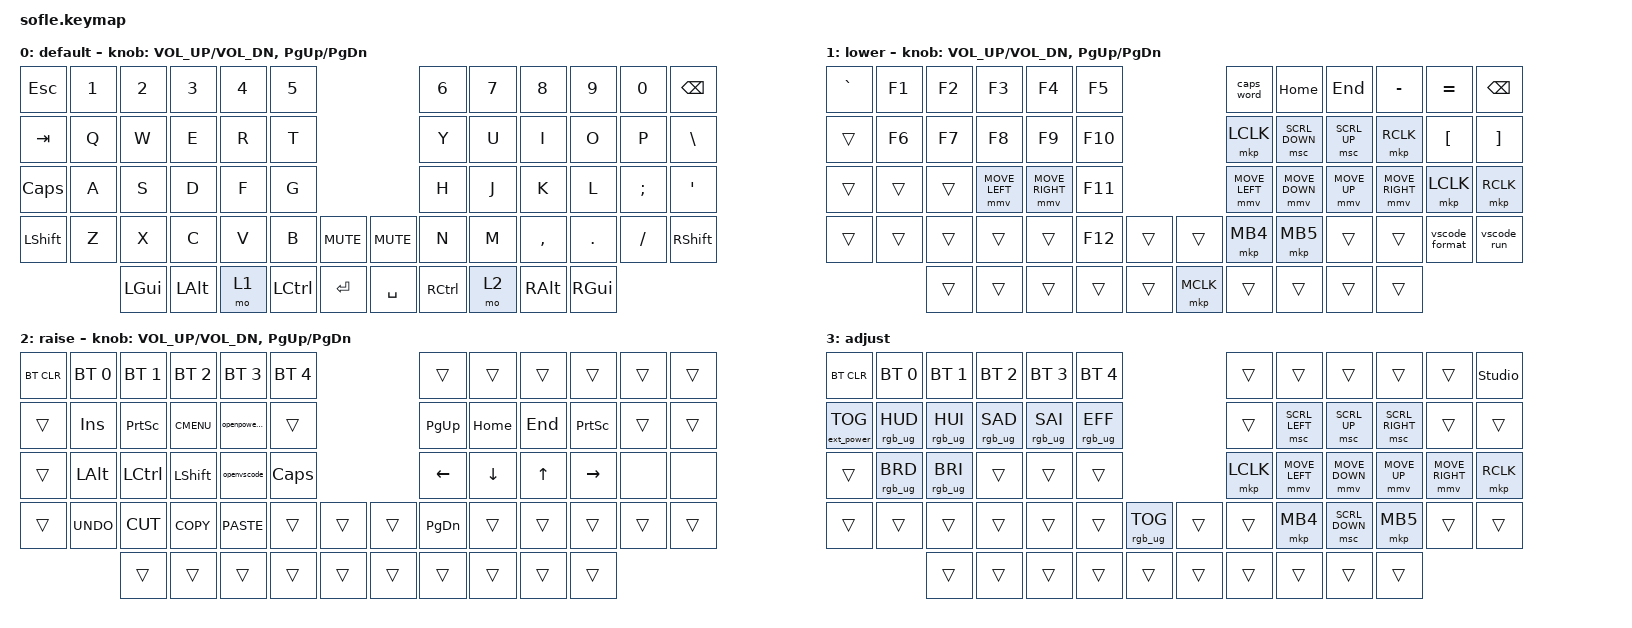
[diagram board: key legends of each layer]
/*
 * Copyright (c) 2020 The ZMK Contributors
 *
 * SPDX-License-Identifier: MIT
 */

#include <behaviors.dtsi>
#include <dt-bindings/zmk/bt.h>
#include <dt-bindings/zmk/ext_power.h>
#include <dt-bindings/zmk/keys.h>
#include <dt-bindings/zmk/pointing.h>
#include <dt-bindings/zmk/rgb.h>

#define BASE 0
#define LOWER 1
#define RAISE 2
#define ADJUST 3

/ {
    // Activate ADJUST layer by pressing raise and lower

    conditional_layers {
        compatible = "zmk,conditional-layers";

        adjust_layer {
            if-layers = <1 2>;
            then-layer = <3>;
        };
    };

    macros {
        vscode_run: vscode_run {
            compatible = "zmk,behavior-macro";
            #binding-cells = <0>;
            bindings =
                <&macro_press>,
                <&kp LCTRL &kp LEFT_ALT &kp N>,
                <&macro_wait_time 100>,
                <&macro_release>,
                <&kp LCTRL &kp LALT &kp N>;

            label = "VSCODE_RUN";
        };

        vscode_format: vscode_format {
            compatible = "zmk,behavior-macro";
            #binding-cells = <0>;
            bindings =
                <&macro_press>,
                <&kp LEFT_SHIFT &kp LEFT_ALT &kp F>,
                <&macro_wait_time 100>,
                <&macro_release>,
                <&kp LEFT_SHIFT &kp LEFT_ALT &kp F>;

            label = "VSCODE_FORMAT";
        };

        openvscode: openvscode {
            compatible = "zmk,behavior-macro";
            #binding-cells = <0>;
            bindings =
                <&macro_press>,
                <&kp RCTRL &kp RIGHT_ALT &kp V>,
                <&macro_wait_time 100>,
                <&macro_release>,
                <&kp RCTRL &kp RIGHT_ALT &kp V>;

            label = "OPENVSCODE";
        };

        openpowershell: openpowershell {
            compatible = "zmk,behavior-macro";
            #binding-cells = <0>;
            bindings =
                <&macro_press>,
                <&kp RCTRL &kp RALT &kp P>,
                <&macro_wait_time 100>,
                <&macro_release>,
                <&kp RCTRL &kp RIGHT_ALT &kp P>;

            label = "OPENPOWERSHELL";
        };
    };

    keymap {
        compatible = "zmk,keymap";

        default_layer {
            label = "default";

            // ------------------------------------------------------------------------------------------------------------
            // |   `   |  1  |  2  |  3   |  4   |  5   |                   |  6   |  7    |  8    |  9   |   0   |       |
            // |  ESC  |  Q  |  W  |  E   |  R   |  T   |                   |  Y   |  U    |  I    |  O   |   P   | BKSPC |
            // |  TAB  |  A  |  S  |  D   |  F   |  G   |                   |  H   |  J    |  K    |  L   |   ;   |   '   |
            // | SHIFT |  Z  |  X  |  C   |  V   |  B   |  MUTE  |  |       |  N   |  M    |  ,    |  .   |   /   | SHIFT |
            //               | GUI | ALT  | CTRL | LOWER|  ENTER |  | SPACE | RAISE| CTRL  | ALT   | GUI  |

            bindings = <
&kp ESC    &kp N1  &kp N2    &kp N3    &kp N4  &kp N5                               &kp N6     &kp N7  &kp N8     &kp N9    &kp N0    &kp BACKSPACE
&kp TAB    &kp Q   &kp W     &kp E     &kp R   &kp T                                &kp Y      &kp U   &kp I      &kp O     &kp P     &kp BACKSLASH
&kp CAPS   &kp A   &kp S     &kp D     &kp F   &kp G                                &kp H      &kp J   &kp K      &kp L     &kp SEMI  &kp SQT
&kp LSHFT  &kp Z   &kp X     &kp C     &kp V   &kp B      &kp C_MUTE    &kp C_MUTE  &kp N      &kp M   &kp COMMA  &kp DOT   &kp FSLH  &kp RSHFT
                   &kp LGUI  &kp LALT  &mo 1   &kp LCTRL  &kp RET       &kp SPACE   &kp RCTRL  &mo 2   &kp RALT   &kp RGUI
            >;

            sensor-bindings =
                <&inc_dec_kp C_VOL_UP C_VOL_DN>,
                <&inc_dec_kp PAGE_UP PAGE_DOWN>;
        };

        lower_layer {
            label = "lower";

            // TODO: Some binds are waiting for shifted keycode support.
            // ------------------------------------------------------------------------------------------------------------
            // |       |  F1 |  F2 |  F3  |  F4  |  F5  |                   |  F6  |  F7   |  F8   |  F9  |  F10  |  F11  |
            // |   `   |  1  |  2  |  3   |  4   |  5   |                   |  6   |  7    |  8    |  9   |   0   |  F12  |
            // |       |  !  |  @  |  #   |  $   |  %   |                   |  ^   |  &    |  *    |  (   |   )   |   |   |
            // |       |  =  |  -  |  +   |  {   |  }   |        |  |       |  [   |  ]    |  ;    |  :   |   \   |       |
            //               |     |      |      |      |        |  |       |      |       |       |      |

            bindings = <
&kp GRAVE  &kp F1  &kp F2  &kp F3          &kp F4           &kp F5                        &caps_word      &kp HOME        &kp END       &kp MINUS        &kp EQUAL         &kp BACKSPACE
&trans     &kp F6  &kp F7  &kp F8          &kp F9           &kp F10                       &mkp LCLK       &msc SCRL_DOWN  &msc SCRL_UP  &mkp RCLK        &kp LEFT_BRACKET  &kp RIGHT_BRACKET
&trans     &trans  &trans  &mmv MOVE_LEFT  &mmv MOVE_RIGHT  &kp F11                       &mmv MOVE_LEFT  &mmv MOVE_DOWN  &mmv MOVE_UP  &mmv MOVE_RIGHT  &mkp LCLK         &mkp RCLK
&trans     &trans  &trans  &trans          &trans           &kp F12  &trans    &trans     &mkp MB4        &mkp MB5        &trans        &trans           &vscode_format    &vscode_run
                   &trans  &trans          &trans           &trans   &trans    &mkp MCLK  &trans          &trans          &trans        &trans
            >;

            sensor-bindings = <&inc_dec_kp C_VOL_UP C_VOL_DN &inc_dec_kp PG_UP PG_DN>;
        };

        raise_layer {
            label = "raise";

            // ------------------------------------------------------------------------------------------------------------
            // | BTCLR | BT1  | BT2  |  BT3  |  BT4  |  BT5 |                |      |      |       |      |       |       |
            // |       | INS  | PSCR | GUI   |       |      |                | PGUP |      |   ^   |      |       |       |
            // |       | ALT  | CTRL | SHIFT |       | CAPS |                | PGDN |   <- |   v   |  ->  |  DEL  | BKSPC |
            // |       | UNDO | CUT  | COPY  | PASTE |      |      |  |      |      |      |       |      |       |       |
            //                |      |       |       |      |      |  |      |      |      |       |      |

            bindings = <
&bt BT_CLR  &bt BT_SEL 0  &bt BT_SEL 1  &bt BT_SEL 2  &bt BT_SEL 3     &bt BT_SEL 4                    &trans         &trans          &trans        &trans           &trans  &trans
&trans      &kp INS       &kp PSCRN     &kp K_CMENU   &openpowershell  &trans                          &kp PAGE_UP    &kp HOME        &kp END       &kp PRINTSCREEN  &trans  &trans
&trans      &kp LALT      &kp LCTRL     &kp LSHFT     &openvscode      &kp CLCK                        &kp LEFT       &kp DOWN_ARROW  &kp UP_ARROW  &kp RIGHT        &none   &none
&trans      &kp K_UNDO    &kp K_CUT     &kp K_COPY    &kp K_PASTE      &trans        &trans    &trans  &kp PAGE_DOWN  &trans          &trans        &trans           &trans  &trans
                          &trans        &trans        &trans           &trans        &trans    &trans  &trans         &trans          &trans        &trans
            >;

            sensor-bindings = <&inc_dec_kp C_VOL_UP C_VOL_DN &inc_dec_kp PG_UP PG_DN>;
        };

        adjust_layer {
            // ----------------------------------------------------------------------------------------------------------------------------
            // | BTCLR  |  BT1    |  BT2    |   BT3   |   BT4   |   BT5   |                  |      |      |       |      |       |       |
            // | EXTPWR | RGB_HUD | RGB_HUI | RGB_SAD | RGB_SAI | RGB_EFF |                  |      |      |       |      |       |       |
            // |        | RGB_BRD | RGB_BRI |         |         |         |                  |      |      |       |      |       |       |
            // |        |         |         |         |         |         | RGB_TOG | |      |      |      |       |      |       |       |
            //                    |         |         |         |         |         | |      |      |      |       |      |

            label = "adjust";
            bindings = <
&bt BT_CLR         &bt BT_SEL 0     &bt BT_SEL 1     &bt BT_SEL 2     &bt BT_SEL 3     &bt BT_SEL 4                                &trans     &trans          &trans          &trans           &trans           &studio_unlock
&ext_power EP_TOG  &rgb_ug RGB_HUD  &rgb_ug RGB_HUI  &rgb_ug RGB_SAD  &rgb_ug RGB_SAI  &rgb_ug RGB_EFF                             &trans     &msc SCRL_LEFT  &msc SCRL_UP    &msc SCRL_RIGHT  &trans           &trans
&trans             &rgb_ug RGB_BRD  &rgb_ug RGB_BRI  &trans           &trans           &trans                                      &mkp LCLK  &mmv MOVE_LEFT  &mmv MOVE_DOWN  &mmv MOVE_UP     &mmv MOVE_RIGHT  &mkp RCLK
&trans             &trans           &trans           &trans           &trans           &trans           &rgb_ug RGB_TOG    &trans  &trans     &mkp MB4        &msc SCRL_DOWN  &mkp MB5         &trans           &trans
                                    &trans           &trans           &trans           &trans           &trans             &trans  &trans     &trans          &trans          &trans
            >;
        };
    };
};
